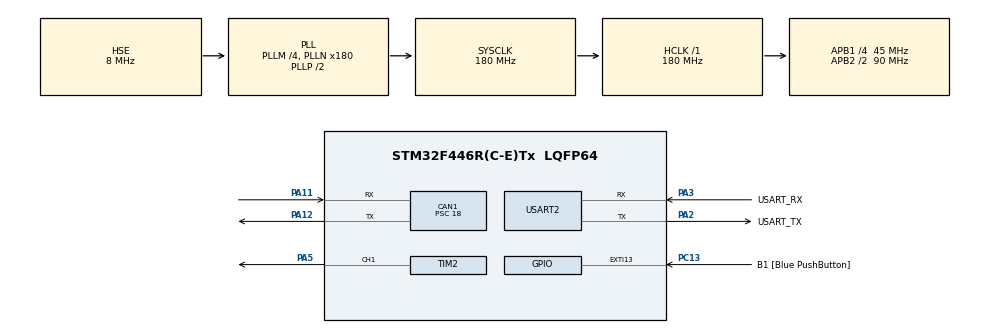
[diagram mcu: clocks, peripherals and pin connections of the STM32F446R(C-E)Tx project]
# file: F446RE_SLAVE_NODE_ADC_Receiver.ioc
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CAN1.BS1=CAN_BS1_2TQ
CAN1.BS2=CAN_BS2_2TQ
CAN1.CalculateBaudRate=500000
CAN1.CalculateTimeBit=2000
CAN1.CalculateTimeQuantum=400.0
CAN1.Prescaler=18
Mcu.Family=STM32F4
Mcu.Name=STM32F446R(C-E)Tx
Mcu.Package=LQFP64
NVIC.CAN1_RX0_IRQn=true\:0\:0\:false\:false\:true\:true\:true\:true
NVIC.PriorityGroup=NVIC_PRIORITYGROUP_0
PA11.Mode=CAN_Activate
PA11.Signal=CAN1_RX
PA12.Mode=CAN_Activate
PA12.Signal=CAN1_TX
PA13.GPIO_Label=TMS
PA13.Mode=Serial_Wire
PA13.Signal=SYS_JTMS-SWDIO
PA14.GPIO_Label=TCK
PA14.Mode=Serial_Wire
PA14.Signal=SYS_JTCK-SWCLK
PA2.GPIO_Label=USART_TX
PA2.Mode=Asynchronous
PA2.Signal=USART2_TX
PA3.GPIO_Label=USART_RX
PA3.Mode=Asynchronous
PA3.Signal=USART2_RX
PA5.Signal=S_TIM2_CH1_ETR
PB3.GPIO_Label=SWO
PB3.Signal=SYS_JTDO-SWO
PC13.GPIO_Label=B1 [Blue PushButton]
PC13.GPIO_ModeDefaultEXTI=GPIO_MODE_IT_FALLING
PC13.Signal=GPXTI13
PC14-OSC32_IN.Mode=LSE-External-Oscillator
PC14-OSC32_IN.Signal=RCC_OSC32_IN
PC15-OSC32_OUT.Mode=LSE-External-Oscillator
PC15-OSC32_OUT.Signal=RCC_OSC32_OUT
PH0-OSC_IN.Mode=HSE-External-Oscillator
PH0-OSC_IN.Signal=RCC_OSC_IN
PH1-OSC_OUT.Mode=HSE-External-Oscillator
PH1-OSC_OUT.Signal=RCC_OSC_OUT
ProjectManager.HeapSize=0x200
ProjectManager.StackSize=0x400
ProjectManager.TargetToolchain=STM32CubeIDE
RCC.48MHZClocksFreq_Value=84000000
RCC.AHBFreq_Value=180000000
RCC.APB1CLKDivider=RCC_HCLK_DIV4
RCC.APB1Freq_Value=45000000
RCC.APB1TimFreq_Value=90000000
RCC.APB2CLKDivider=RCC_HCLK_DIV2
RCC.APB2Freq_Value=90000000
RCC.APB2TimFreq_Value=180000000
RCC.CortexFreq_Value=180000000
RCC.FLatency-AdvancedSettings=FLASH_LATENCY_5
RCC.HCLKFreq_Value=180000000
RCC.HSE_VALUE=8000000
RCC.HSI_VALUE=16000000
RCC.PLLM=4
RCC.PLLN=180
RCC.PLLSourceVirtual=RCC_PLLSOURCE_HSE
RCC.SYSCLKFreq_VALUE=180000000
RCC.SYSCLKSource=RCC_SYSCLKSOURCE_PLLCLK
RCC.USBFreq_Value=180000000
RCC.VCOOutputFreq_Value=360000000
SH.S_TIM2_CH1_ETR.0=TIM2_CH1,Forced Output1 CH1
TIM2.Channel-Forced\ Output1\ CH1=TIM_CHANNEL_1
TIM2.Prescaler=180-1
USART2.VirtualMode=VM_ASYNC
VP_TIM2_VS_ClockSourceINT.Mode=Internal
board=NUCLEO-F446RE

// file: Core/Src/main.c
/* USER CODE BEGIN Header */
/**
  ******************************************************************************
  * @file           : main.c
  * @brief          : Main program body
  ******************************************************************************
  * @attention
  *
  * Copyright (c) 2024 STMicroelectronics.
  * All rights reserved.
  *
  * This software is licensed under terms that can be found in the LICENSE file
  * in the root directory of this software component.
  * If no LICENSE file comes with this software, it is provided AS-IS.
  *
  ******************************************************************************
  */
/* USER CODE END Header */
#include "main.h"

CAN_HandleTypeDef hcan1;

TIM_HandleTypeDef htim2;

UART_HandleTypeDef huart2;

/* USER CODE BEGIN PV */

CAN_RxHeaderTypeDef RxHeader;

uint8_t RxData[2];

uint16_t ReceiveADC = 0;

/* USER CODE END PV */

void SystemClock_Config(void);
static void MX_GPIO_Init(void);
static void MX_USART2_UART_Init(void);
static void MX_CAN1_Init(void);
static void MX_TIM2_Init(void);

/* USER CODE BEGIN 0 */
uint8_t rxcptl = 0;
uint16_t pwm;
void HAL_CAN_RxFifo0MsgPendingCallback(CAN_HandleTypeDef *hcan)
{
	HAL_CAN_GetRxMessage(hcan, CAN_RX_FIFO0, &RxHeader, RxData);

	if(RxHeader.DLC == 2)
	{
		rxcptl = 1;
	}

}
/* USER CODE END 0 */

int main(void)
{

  /* MCU Configuration--------------------------------------------------------*/

  /* Reset of all peripherals, Initializes the Flash interface and the Systick. */
  HAL_Init();

  /* Configure the system clock */
  SystemClock_Config();

  /* Initialize all configured peripherals */
  MX_GPIO_Init();
  MX_USART2_UART_Init();
  MX_CAN1_Init();
  MX_TIM2_Init();
  /* USER CODE BEGIN 2 */
  HAL_TIM_PWM_Start(&htim2, TIM_CHANNEL_1);
  HAL_CAN_Start(&hcan1);

  HAL_CAN_ActivateNotification(&hcan1, CAN_IT_RX_FIFO0_MSG_PENDING);

  /* USER CODE END 2 */

  /* Infinite loop */
  /* USER CODE BEGIN WHILE */
  while (1)
  {
	  if(rxcptl)
	  {
		  ReceiveADC = (RxData[1] << 8) + RxData[0];

		  pwm = (ReceiveADC / 40);
		  TIM2->CCR1 = pwm;
		  HAL_Delay(1);

		  rxcptl = 0;
	  }
    /* USER CODE END WHILE */

  }
}

void SystemClock_Config(void)
{
  RCC_OscInitTypeDef RCC_OscInitStruct = {0};
  RCC_ClkInitTypeDef RCC_ClkInitStruct = {0};

  /** Configure the main internal regulator output voltage
  */
  __HAL_RCC_PWR_CLK_ENABLE();
  __HAL_PWR_VOLTAGESCALING_CONFIG(PWR_REGULATOR_VOLTAGE_SCALE1);

  /** Initializes the RCC Oscillators according to the specified parameters
  * in the RCC_OscInitTypeDef structure.
  */
  RCC_OscInitStruct.OscillatorType = RCC_OSCILLATORTYPE_HSE;
  RCC_OscInitStruct.HSEState = RCC_HSE_ON;
  RCC_OscInitStruct.PLL.PLLState = RCC_PLL_ON;
  RCC_OscInitStruct.PLL.PLLSource = RCC_PLLSOURCE_HSE;
  RCC_OscInitStruct.PLL.PLLM = 4;
  RCC_OscInitStruct.PLL.PLLN = 180;
  RCC_OscInitStruct.PLL.PLLP = RCC_PLLP_DIV2;
  RCC_OscInitStruct.PLL.PLLQ = 2;
  RCC_OscInitStruct.PLL.PLLR = 2;
  if (HAL_RCC_OscConfig(&RCC_OscInitStruct) != HAL_OK)
  {
    Error_Handler();
  }

  /** Activate the Over-Drive mode
  */
  if (HAL_PWREx_EnableOverDrive() != HAL_OK)
  {
    Error_Handler();
  }

  /** Initializes the CPU, AHB and APB buses clocks
  */
  RCC_ClkInitStruct.ClockType = RCC_CLOCKTYPE_HCLK|RCC_CLOCKTYPE_SYSCLK
                              |RCC_CLOCKTYPE_PCLK1|RCC_CLOCKTYPE_PCLK2;
  RCC_ClkInitStruct.SYSCLKSource = RCC_SYSCLKSOURCE_PLLCLK;
  RCC_ClkInitStruct.AHBCLKDivider = RCC_SYSCLK_DIV1;
  RCC_ClkInitStruct.APB1CLKDivider = RCC_HCLK_DIV4;
  RCC_ClkInitStruct.APB2CLKDivider = RCC_HCLK_DIV2;

  if (HAL_RCC_ClockConfig(&RCC_ClkInitStruct, FLASH_LATENCY_5) != HAL_OK)
  {
    Error_Handler();
  }
}

static void MX_CAN1_Init(void)
{

  hcan1.Instance = CAN1;
  hcan1.Init.Prescaler = 18;
  hcan1.Init.Mode = CAN_MODE_NORMAL;
  hcan1.Init.SyncJumpWidth = CAN_SJW_1TQ;
  hcan1.Init.TimeSeg1 = CAN_BS1_2TQ;
  hcan1.Init.TimeSeg2 = CAN_BS2_2TQ;
  hcan1.Init.TimeTriggeredMode = DISABLE;
  hcan1.Init.AutoBusOff = DISABLE;
  hcan1.Init.AutoWakeUp = DISABLE;
  hcan1.Init.AutoRetransmission = DISABLE;
  hcan1.Init.ReceiveFifoLocked = DISABLE;
  hcan1.Init.TransmitFifoPriority = DISABLE;
  if (HAL_CAN_Init(&hcan1) != HAL_OK)
  {
    Error_Handler();
  }
  /* USER CODE BEGIN CAN1_Init 2 */
  CAN_FilterTypeDef sfilterConfig = {0};

  sfilterConfig.FilterActivation = CAN_FILTER_ENABLE;
  sfilterConfig.FilterBank = 10;
  sfilterConfig.FilterFIFOAssignment = CAN_RX_FIFO0;
  sfilterConfig.FilterIdHigh = 0x123 << 5;
  sfilterConfig.FilterIdLow = 0x000;
  sfilterConfig.FilterMaskIdHigh = 0x7FF << 5;
  sfilterConfig.FilterMaskIdLow = 0x000;
  sfilterConfig.FilterMode = CAN_FILTERMODE_IDMASK;
  sfilterConfig.FilterScale = CAN_FILTERSCALE_32BIT;
  sfilterConfig.SlaveStartFilterBank = 0;

  if (HAL_CAN_ConfigFilter(&hcan1, &sfilterConfig) != HAL_OK )
  {
	  Error_Handler();
  }

  /* USER CODE END CAN1_Init 2 */

}

static void MX_TIM2_Init(void)
{

  TIM_ClockConfigTypeDef sClockSourceConfig = {0};
  TIM_MasterConfigTypeDef sMasterConfig = {0};
  TIM_OC_InitTypeDef sConfigOC = {0};

  htim2.Instance = TIM2;
  htim2.Init.Prescaler = 180-1;
  htim2.Init.CounterMode = TIM_COUNTERMODE_UP;
  htim2.Init.Period = 100-1;
  htim2.Init.ClockDivision = TIM_CLOCKDIVISION_DIV1;
  htim2.Init.AutoReloadPreload = TIM_AUTORELOAD_PRELOAD_DISABLE;
  if (HAL_TIM_Base_Init(&htim2) != HAL_OK)
  {
    Error_Handler();
  }
  sClockSourceConfig.ClockSource = TIM_CLOCKSOURCE_INTERNAL;
  if (HAL_TIM_ConfigClockSource(&htim2, &sClockSourceConfig) != HAL_OK)
  {
    Error_Handler();
  }
  if (HAL_TIM_OC_Init(&htim2) != HAL_OK)
  {
    Error_Handler();
  }
  sMasterConfig.MasterOutputTrigger = TIM_TRGO_RESET;
  sMasterConfig.MasterSlaveMode = TIM_MASTERSLAVEMODE_DISABLE;
  if (HAL_TIMEx_MasterConfigSynchronization(&htim2, &sMasterConfig) != HAL_OK)
  {
    Error_Handler();
  }
  sConfigOC.OCMode = TIM_OCMODE_FORCED_ACTIVE;
  sConfigOC.Pulse = 0;
  sConfigOC.OCPolarity = TIM_OCPOLARITY_HIGH;
  sConfigOC.OCFastMode = TIM_OCFAST_DISABLE;
  if (HAL_TIM_OC_ConfigChannel(&htim2, &sConfigOC, TIM_CHANNEL_1) != HAL_OK)
  {
    Error_Handler();
  }
  HAL_TIM_MspPostInit(&htim2);

}

static void MX_USART2_UART_Init(void)
{

  huart2.Instance = USART2;
  huart2.Init.BaudRate = 115200;
  huart2.Init.WordLength = UART_WORDLENGTH_8B;
  huart2.Init.StopBits = UART_STOPBITS_1;
  huart2.Init.Parity = UART_PARITY_NONE;
  huart2.Init.Mode = UART_MODE_TX_RX;
  huart2.Init.HwFlowCtl = UART_HWCONTROL_NONE;
  huart2.Init.OverSampling = UART_OVERSAMPLING_16;
  if (HAL_UART_Init(&huart2) != HAL_OK)
  {
    Error_Handler();
  }

}

static void MX_GPIO_Init(void)
{
  GPIO_InitTypeDef GPIO_InitStruct = {0};

  /* GPIO Ports Clock Enable */
  __HAL_RCC_GPIOC_CLK_ENABLE();
  __HAL_RCC_GPIOH_CLK_ENABLE();
  __HAL_RCC_GPIOA_CLK_ENABLE();
  __HAL_RCC_GPIOB_CLK_ENABLE();

  /*Configure GPIO pin : B1_Pin */
  GPIO_InitStruct.Pin = B1_Pin;
  GPIO_InitStruct.Mode = GPIO_MODE_IT_FALLING;
  GPIO_InitStruct.Pull = GPIO_NOPULL;
  HAL_GPIO_Init(B1_GPIO_Port, &GPIO_InitStruct);

}

void Error_Handler(void)
{
  __disable_irq();
  while (1)
  {
  }
}
